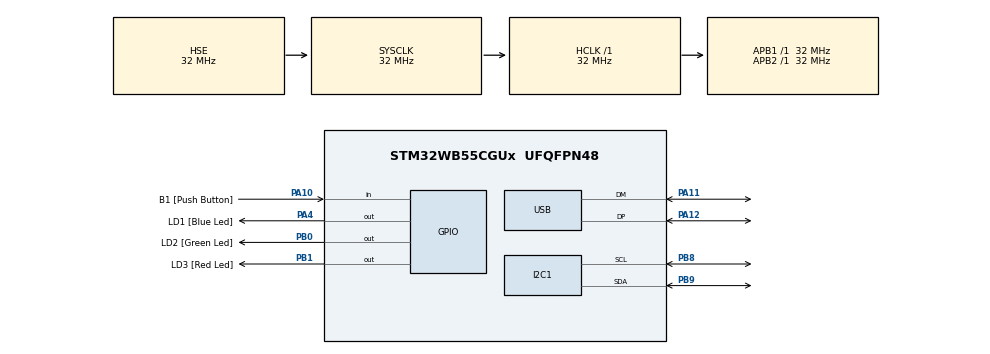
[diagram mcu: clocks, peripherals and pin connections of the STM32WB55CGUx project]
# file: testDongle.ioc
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I2C1.Timing=0x00707CBB
Mcu.Family=STM32WB
Mcu.Name=STM32WB55CGUx
Mcu.Package=UFQFPN48
NVIC.PriorityGroup=NVIC_PRIORITYGROUP_4
OSC_IN.Mode=HSE-External-Oscillator
OSC_IN.Signal=RCC_OSC_IN
OSC_OUT.Mode=HSE-External-Oscillator
OSC_OUT.Signal=RCC_OSC_OUT
PA10.GPIO_Label=B1 [Push Button]
PA10.Signal=GPIO_Input
PA11.Mode=Device
PA11.Signal=USB_DM
PA12.Mode=Device
PA12.Signal=USB_DP
PA13.GPIO_Label=JTMS
PA13.Mode=Trace_Asynchronous_SW
PA13.Signal=SYS_JTMS-SWDIO
PA14.GPIO_Label=JTCK
PA14.Mode=Trace_Asynchronous_SW
PA14.Signal=SYS_JTCK-SWCLK
PA4.GPIO_Label=LD1 [Blue Led]
PA4.Signal=GPIO_Output
PB0.GPIO_Label=LD2 [Green Led]
PB0.Signal=GPIO_Output
PB1.GPIO_Label=LD3 [Red Led]
PB1.Signal=GPIO_Output
PB3.GPIO_Label=JTDO
PB3.Mode=Trace_Asynchronous_SW
PB3.Signal=SYS_JTDO-SWO
PB8.Mode=I2C
PB8.Signal=I2C1_SCL
PB9.Mode=I2C
PB9.Signal=I2C1_SDA
PC14-OSC32_IN.Mode=LSE-External-Oscillator
PC14-OSC32_IN.Signal=RCC_OSC32_IN
PC15-OSC32_OUT.Mode=LSE-External-Oscillator
PC15-OSC32_OUT.Signal=RCC_OSC32_OUT
ProjectManager.HeapSize=0x200
ProjectManager.StackSize=0x400
ProjectManager.TargetToolchain=STM32CubeIDE
RCC.ADCFreq_Value=48000000
RCC.AHBFreq_Value=32000000
RCC.APB1Freq_Value=32000000
RCC.APB1TimFreq_Value=32000000
RCC.APB2Freq_Value=32000000
RCC.APB2TimFreq_Value=32000000
RCC.APB3Freq_Value=16000000
RCC.CortexFreq_Value=32000000
RCC.HCLKFreq_Value=32000000
RCC.HSE_VALUE=32000000
RCC.HSI48_VALUE=48000000
RCC.HSI_VALUE=16000000
RCC.PLLN=32
RCC.PLLSAI1N=24
RCC.SMPSDivider=1
RCC.SYSCLKFreq_VALUE=32000000
RCC.SYSCLKSource=RCC_SYSCLKSOURCE_HSE
RCC.USBFreq_Value=48000000
RCC.VCOOutputFreq_Value=128000000
board=P-NUCLEO-WB55-USBDongle

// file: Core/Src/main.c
/* USER CODE BEGIN Header */
/**
  ******************************************************************************
  * @file           : main.c
  * @brief          : Main program body
  ******************************************************************************
  * @attention
  *
  * <h2><center>&copy; Copyright (c) 2020 STMicroelectronics.
  * All rights reserved.</center></h2>
  *
  * This software component is licensed by ST under BSD 3-Clause license,
  * the "License"; You may not use this file except in compliance with the
  * License. You may obtain a copy of the License at:
  *                        opensource.org/licenses/BSD-3-Clause
  *
  ******************************************************************************
  */
/* USER CODE END Header */
#include "main.h"
#include "i2c.h"
#include "usb.h"
#include "gpio.h"

/* USER CODE BEGIN PD */
#define BME_ADDR 0b1110110
/* USER CODE END PD */

void SystemClock_Config(void);
/* USER CODE BEGIN PFP */
int32_t BME280_compensate_T(int32_t adc_T);
/* USER CODE END PFP */

/* USER CODE BEGIN 0 */
static uint16_t dig_T1;
static int16_t dig_T2;
static int16_t dig_T3;
/* USER CODE END 0 */

int main(void)
{
  /* USER CODE BEGIN 1 */
	uint8_t buf[12]; //reception buffer
	int32_t adc_T;
	int32_t temperature;
  /* USER CODE END 1 */

  /* MCU Configuration--------------------------------------------------------*/

  /* Reset of all peripherals, Initializes the Flash interface and the Systick. */
  HAL_Init();

  /* Configure the system clock */
  SystemClock_Config();

  /* Initialize all configured peripherals */
  MX_GPIO_Init();
  MX_I2C1_Init();
  MX_USB_PCD_Init();
  /* USER CODE BEGIN 2 */

  buf[0] = 0xD0; // "id" register
  HAL_I2C_Master_Transmit(&hi2c1, BME_ADDR, buf, 1, HAL_MAX_DELAY); //send 1 byte
  HAL_I2C_Master_Receive(&hi2c1, BME_ADDR, buf, 1, HAL_MAX_DELAY); //receive 1 byte

  if(buf[0] != 0x60){ // if the device id does not match expected
	  Error_Handler();
  }

  buf[0] = 0xF4; // "ctrl_meas" register
  buf[1] = 0b001 << 5 | 0b11; // oversampling = 1 for temperature, normal mode
  HAL_I2C_Master_Transmit(&hi2c1, BME_ADDR, buf, 2, HAL_MAX_DELAY); //send 2 bytes

  buf[0] = 0xF5; // "config" register
  buf[1] = 0b100 << 5; // 1 measure every 500ms
  HAL_I2C_Master_Transmit(&hi2c1, BME_ADDR, buf, 2, HAL_MAX_DELAY); //send 2 bytes

  buf[0] = 0x88; // "dig_Tx" registers
  HAL_I2C_Master_Receive(&hi2c1, BME_ADDR, buf, 6, HAL_MAX_DELAY); //receive 6 bytes
  dig_T1 = buf[0] | (uint16_t)buf[1] << 8;
  dig_T2 = buf[2] | (uint16_t)buf[3] << 8;
  dig_T3 = buf[4] | (uint16_t)buf[5] << 8;
  /* USER CODE END 2 */

  /* Infinite loop */
  /* USER CODE BEGIN WHILE */
  while (1)
  {
	  buf[0] = 0xFA; // temperature MSB register
	  HAL_I2C_Master_Transmit(&hi2c1, BME_ADDR, buf, 1, HAL_MAX_DELAY); // send 1 byte
	  HAL_I2C_Master_Receive(&hi2c1, BME_ADDR, buf, 3, HAL_MAX_DELAY); // receive 3 bytes

	  adc_T = (uint32_t)buf[0] << 12 | (uint32_t)buf[1] << 4 | buf[2] >> 4;
	  temperature = BME280_compensate_T(adc_T);

	  if(temperature < 2000) { // if T < 20°C
		  HAL_GPIO_WritePin(GPIOA, GPIO_PIN_4, GPIO_PIN_SET);
	  } else {
		  HAL_GPIO_WritePin(GPIOA, GPIO_PIN_4, GPIO_PIN_RESET);
	  }

	  HAL_GPIO_TogglePin(GPIOB, GPIO_PIN_0);
	  HAL_Delay(500);
    /* USER CODE END WHILE */

  }
}

void SystemClock_Config(void)
{
  RCC_OscInitTypeDef RCC_OscInitStruct = {0};
  RCC_ClkInitTypeDef RCC_ClkInitStruct = {0};
  RCC_PeriphCLKInitTypeDef PeriphClkInitStruct = {0};

  /** Macro to configure the PLL multiplication factor
  */
  __HAL_RCC_PLL_PLLM_CONFIG(RCC_PLLM_DIV1);
  /** Macro to configure the PLL clock source
  */
  __HAL_RCC_PLL_PLLSOURCE_CONFIG(RCC_PLLSOURCE_MSI);
  /** Configure LSE Drive Capability
  */
  HAL_PWR_EnableBkUpAccess();
  __HAL_RCC_LSEDRIVE_CONFIG(RCC_LSEDRIVE_LOW);
  /** Configure the main internal regulator output voltage
  */
  __HAL_PWR_VOLTAGESCALING_CONFIG(PWR_REGULATOR_VOLTAGE_SCALE1);
  /** Initializes the RCC Oscillators according to the specified parameters
  * in the RCC_OscInitTypeDef structure.
  */
  RCC_OscInitStruct.OscillatorType = RCC_OSCILLATORTYPE_HSI|RCC_OSCILLATORTYPE_HSE
                              |RCC_OSCILLATORTYPE_LSE|RCC_OSCILLATORTYPE_MSI;
  RCC_OscInitStruct.HSEState = RCC_HSE_ON;
  RCC_OscInitStruct.LSEState = RCC_LSE_ON;
  RCC_OscInitStruct.HSIState = RCC_HSI_ON;
  RCC_OscInitStruct.MSIState = RCC_MSI_ON;
  RCC_OscInitStruct.HSICalibrationValue = RCC_HSICALIBRATION_DEFAULT;
  RCC_OscInitStruct.MSICalibrationValue = RCC_MSICALIBRATION_DEFAULT;
  RCC_OscInitStruct.MSIClockRange = RCC_MSIRANGE_6;
  RCC_OscInitStruct.PLL.PLLState = RCC_PLL_NONE;
  if (HAL_RCC_OscConfig(&RCC_OscInitStruct) != HAL_OK)
  {
    Error_Handler();
  }
  /** Configure the SYSCLKSource, HCLK, PCLK1 and PCLK2 clocks dividers
  */
  RCC_ClkInitStruct.ClockType = RCC_CLOCKTYPE_HCLK4|RCC_CLOCKTYPE_HCLK2
                              |RCC_CLOCKTYPE_HCLK|RCC_CLOCKTYPE_SYSCLK
                              |RCC_CLOCKTYPE_PCLK1|RCC_CLOCKTYPE_PCLK2;
  RCC_ClkInitStruct.SYSCLKSource = RCC_SYSCLKSOURCE_HSE;
  RCC_ClkInitStruct.AHBCLKDivider = RCC_SYSCLK_DIV1;
  RCC_ClkInitStruct.APB1CLKDivider = RCC_HCLK_DIV1;
  RCC_ClkInitStruct.APB2CLKDivider = RCC_HCLK_DIV1;
  RCC_ClkInitStruct.AHBCLK2Divider = RCC_SYSCLK_DIV1;
  RCC_ClkInitStruct.AHBCLK4Divider = RCC_SYSCLK_DIV1;

  if (HAL_RCC_ClockConfig(&RCC_ClkInitStruct, FLASH_LATENCY_1) != HAL_OK)
  {
    Error_Handler();
  }
  /** Initializes the peripherals clocks
  */
  PeriphClkInitStruct.PeriphClockSelection = RCC_PERIPHCLK_SMPS|RCC_PERIPHCLK_I2C1
                              |RCC_PERIPHCLK_USB;
  PeriphClkInitStruct.PLLSAI1.PLLN = 24;
  PeriphClkInitStruct.PLLSAI1.PLLP = RCC_PLLP_DIV2;
  PeriphClkInitStruct.PLLSAI1.PLLQ = RCC_PLLQ_DIV2;
  PeriphClkInitStruct.PLLSAI1.PLLR = RCC_PLLR_DIV2;
  PeriphClkInitStruct.PLLSAI1.PLLSAI1ClockOut = RCC_PLLSAI1_USBCLK;
  PeriphClkInitStruct.I2c1ClockSelection = RCC_I2C1CLKSOURCE_PCLK1;
  PeriphClkInitStruct.UsbClockSelection = RCC_USBCLKSOURCE_PLLSAI1;
  PeriphClkInitStruct.SmpsClockSelection = RCC_SMPSCLKSOURCE_HSI;
  PeriphClkInitStruct.SmpsDivSelection = RCC_SMPSCLKDIV_RANGE0;
  if (HAL_RCCEx_PeriphCLKConfig(&PeriphClkInitStruct) != HAL_OK)
  {
    Error_Handler();
  }
  /** Enable MSI Auto calibration
  */
  HAL_RCCEx_EnableMSIPLLMode();
}

/* USER CODE BEGIN 4 */

// From BME280 datasheet
int32_t BME280_compensate_T(int32_t adc_T){
	int32_t var1, var2, T, t_fine;
	var1 = ((((adc_T>>3) - ((int32_t)dig_T1<<1))) * ((int32_t)dig_T2))>>11;
	var2 = (((((adc_T>>4) - ((int32_t)dig_T1)) * ((adc_T>>4) -  ((int32_t)dig_T1))) >> 12) * ((int32_t)dig_T3)) >> 14;
	t_fine = var1+var2;
	T = (t_fine *5 + 128) >> 8;
	return T;
}
/* USER CODE END 4 */

void Error_Handler(void)
{
  /* USER CODE BEGIN Error_Handler_Debug */
  /* User can add his own implementation to report the HAL error return state */
	 HAL_GPIO_WritePin(GPIOB, GPIO_PIN_1, GPIO_PIN_SET); // Turn on Red LED
	 while(1);
  /* USER CODE END Error_Handler_Debug */
}

/************************ (C) COPYRIGHT STMicroelectronics *****END OF FILE****/
